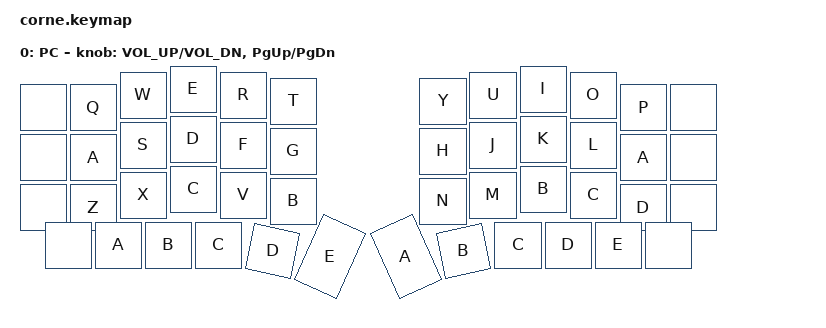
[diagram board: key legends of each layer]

/*
* Copyright (c) 2020 The ZMK Contributors 
* SPDX-License-Identifier: MIT 
*/ 

#include <behaviors.dtsi> 
#include <dt-bindings/zmk/keys.h> 
#include <dt-bindings/zmk/bt.h> 

#define PC 0 
    
/ {
    behaviors {
        hm: homerow_mods {
            compatible = "zmk,behavior-hold-tap";
            label = "HOMEROW_MODS";
            #binding-cells = <2>;
            tapping-term-ms = <300>;
            quick-tap-ms = <200>;
            flavor = "tap-preferred";
            bindings = <&kp>, <&kp>;
        };
    };
    keymap {
    compatible = "zmk,keymap";

    PC_layer {
            label = "PC";
            sensor-bindings = < 
              &inc_dec_kp C_VOL_UP C_VOL_DN 
              &inc_dec_kp PG_UP PG_DN  
              >;
            bindings = <
              &none            &kp Q            &kp W            &kp E            &kp R            &kp T            &kp Y            &kp U            &kp I            &kp O            &kp P            &none 
              &none            &kp A            &kp S            &kp D            &kp F            &kp G            &kp H            &kp J            &kp K            &kp L            &kp A            &none 
              &none            &kp Z            &kp X            &kp C            &kp V            &kp B            &kp N            &kp M            &kp B            &kp C            &kp D            &none 
              &none            &kp A            &kp B            &kp C            &kp D            &kp E            &kp A            &kp B            &kp C            &kp D            &kp E            &none 
            >;
          };
            
    };
};
    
